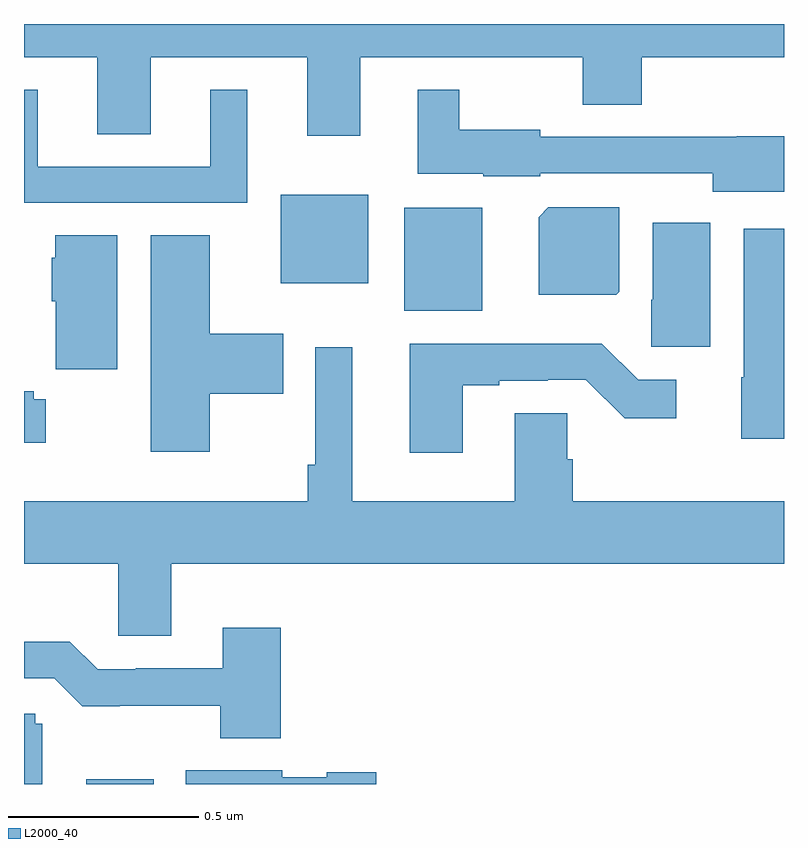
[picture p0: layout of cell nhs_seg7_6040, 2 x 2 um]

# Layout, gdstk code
import gdstk
lib = gdstk.Library(unit=1e-6, precision=1e-09)
def R(c, l, rs):  # rectangles x0, y0, x1, y1
    for r in rs: c.add(gdstk.rectangle(r[:2], r[2:], *l))
def P(c, l, *ps):  # polygons
    for p in ps: c.add(gdstk.Polygon(p, *l))
L2000_40 = (2000, 40)

nhs_seg7_6040 = lib.new_cell('nhs_seg7_6040')
R(nhs_seg7_6040, L2000_40, [(193.164,1036,193.341,1036.012), (194,1037.246,194.206,1037.516), (193.676,1037.318,193.906,1037.551)])
P(nhs_seg7_6040, L2000_40, [(193.885,1037.912),(194.47,1037.912),(194.47,1037.788),(194.625,1037.788),(194.625,1037.912),(195,1037.912),(195,1038),(193,1038),(193,1037.912),(193.193,1037.912),(193.193,1037.71),(193.333,1037.71),(193.333,1037.912),(193.745,1037.912),(193.745,1037.706),(193.885,1037.706)],
  [(195,1037.704),(194.875,1037.704),(194.875,1037.703),(194.358,1037.703),(194.358,1037.722),(194.146,1037.722),(194.146,1037.827),(194.036,1037.827),(194.036,1037.606),(194.208,1037.606),(194.208,1037.6),(194.358,1037.6),(194.358,1037.607),(194.813,1037.607),(194.813,1037.558),(195,1037.558)],
  [(193.588,1037.827),(193.49,1037.827),(193.49,1037.625),(193.036,1037.625),(193.036,1037.827),(193,1037.827),(193,1037.529),(193.588,1037.529)],
  [(194.566,1037.296),(194.566,1037.518),(194.38,1037.518),(194.354,1037.492),(194.354,1037.288),(194.558,1037.288)],
  [(194.806,1037.477),(194.654,1037.477),(194.654,1037.274),(194.65,1037.274),(194.65,1037.151),(194.806,1037.151)],
  [(195,1037.461),(194.894,1037.461),(194.894,1037.07),(194.888,1037.07),(194.888,1036.908),(195,1036.908)],
  [(193.489,1037.027),(193.682,1037.027),(193.682,1037.185),(193.489,1037.185),(193.489,1037.444),(193.334,1037.444),(193.334,1036.875),(193.489,1036.875)],
  [(193.246,1037.444),(193.082,1037.444),(193.082,1037.385),(193.073,1037.385),(193.073,1037.271),(193.083,1037.271),(193.083,1037.091),(193.246,1037.091)],
  [(194.155,1037.049),(194.251,1037.049),(194.251,1037.061),(194.378,1037.061),(194.378,1037.064),(194.478,1037.064),(194.581,1036.962),(194.716,1036.962),(194.716,1037.064),(194.616,1037.064),(194.521,1037.159),(194.015,1037.159),(194.015,1036.872),(194.155,1036.872)],
  [(193.387,1036.58),(195,1036.58),(195,1036.744),(194.444,1036.744),(194.444,1036.854),(194.43,1036.854),(194.43,1036.976),(194.291,1036.976),(194.291,1036.744),(193.864,1036.744),(193.864,1037.149),(193.767,1037.149),(193.767,1036.84),(193.747,1036.84),(193.747,1036.744),(193,1036.744),(193,1036.58),(193.248,1036.58),(193.248,1036.39),(193.387,1036.39)],
  [(193.057,1037.012),(193.026,1037.012),(193.026,1037.033),(193,1037.033),(193,1036.898),(193.057,1036.898)],
  [(193.676,1036.411),(193.523,1036.411),(193.523,1036.305),(193.294,1036.305),(193.294,1036.302),(193.194,1036.302),(193.121,1036.375),(193,1036.375),(193,1036.278),(193.08,1036.278),(193.153,1036.205),(193.252,1036.205),(193.252,1036.206),(193.516,1036.206),(193.516,1036.121),(193.676,1036.121)],
  [(193.048,1036.158),(193.029,1036.158),(193.029,1036.185),(193,1036.185),(193,1036),(193.048,1036)],
  [(193.927,1036.031),(193.797,1036.031),(193.797,1036.018),(193.68,1036.018),(193.68,1036.036),(193.426,1036.036),(193.426,1036),(193.927,1036)])

lib.write_gds('nhs_seg7_6040.gds')
